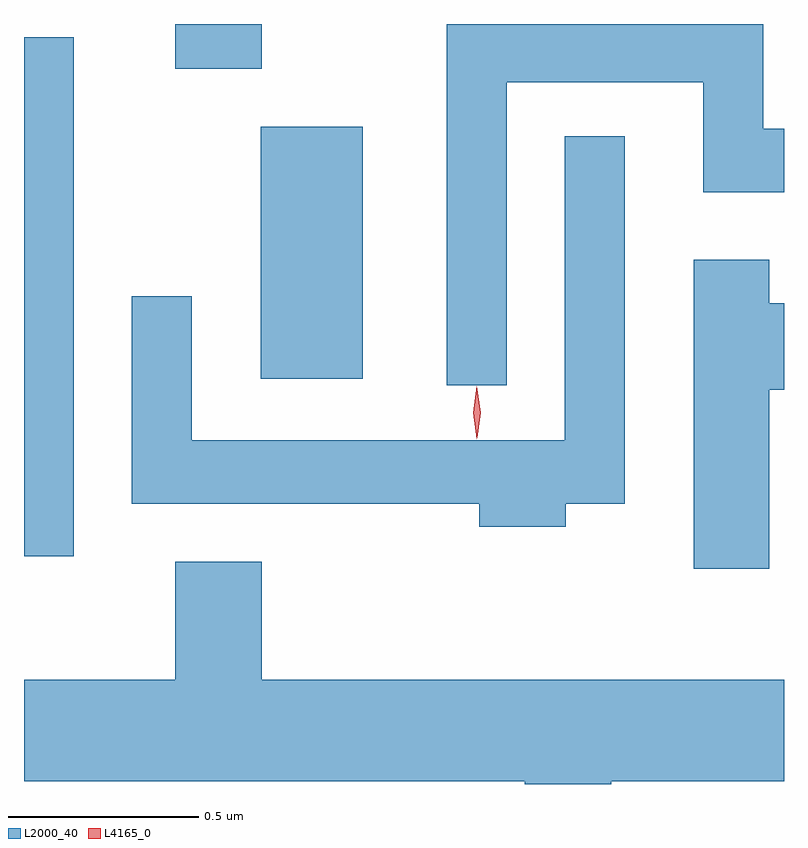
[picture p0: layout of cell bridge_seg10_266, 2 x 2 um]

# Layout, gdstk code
import gdstk
lib = gdstk.Library(unit=1e-6, precision=1e-09)
def R(c, l, rs):  # rectangles x0, y0, x1, y1
    for r in rs: c.add(gdstk.rectangle(r[:2], r[2:], *l))
def P(c, l, *ps):  # polygons
    for p in ps: c.add(gdstk.Polygon(p, *l))
L2000_40 = (2000, 40)
L4165_0 = (4165, 0)

bridge_seg10_266 = lib.new_cell('bridge_seg10_266')
R(bridge_seg10_266, L2000_40, [(1800.833,2098.968,1800.964,2100.334), (1801.456,2099.436,1801.724,2100.099), (1801.231,2100.251,1801.459,2100.369)])
P(bridge_seg10_266, L2000_40, [(1802.104,2100.216),(1802.621,2100.216),(1802.621,2099.926),(1802.833,2099.926),(1802.833,2100.094),(1802.779,2100.094),(1802.779,2100.369),(1801.946,2100.369),(1801.946,2099.418),(1802.104,2099.418)],
  [(1802.259,2099.106),(1802.414,2099.106),(1802.414,2100.073),(1802.256,2100.073),(1802.256,2099.274),(1801.274,2099.274),(1801.274,2099.653),(1801.116,2099.653),(1801.116,2099.106),(1802.031,2099.106),(1802.031,2099.046),(1802.259,2099.046)],
  [(1802.794,2099.406),(1802.833,2099.406),(1802.833,2099.634),(1802.794,2099.634),(1802.794,2099.749),(1802.596,2099.749),(1802.596,2098.936),(1802.794,2098.936)],
  [(1802.379,2098.376),(1802.833,2098.376),(1802.833,2098.644),(1801.459,2098.644),(1801.459,2098.954),(1801.231,2098.954),(1801.231,2098.644),(1800.833,2098.644),(1800.833,2098.376),(1802.151,2098.376),(1802.151,2098.369),(1802.379,2098.369)])
P(bridge_seg10_266, L4165_0, [(1802.025,2099.28),(1802.025,2099.28),(1802.015,2099.346),(1802.024,2099.412),(1802.025,2099.413),(1802.025,2099.412),(1802.035,2099.346),(1802.026,2099.28)],
  [(1802.024,2099.277),(1802.015,2099.346),(1802.024,2099.416),(1802.025,2099.416),(1802.025,2099.416),(1802.035,2099.346),(1802.025,2099.277),(1802.025,2099.277)])

lib.write_gds('bridge_seg10_266.gds')
